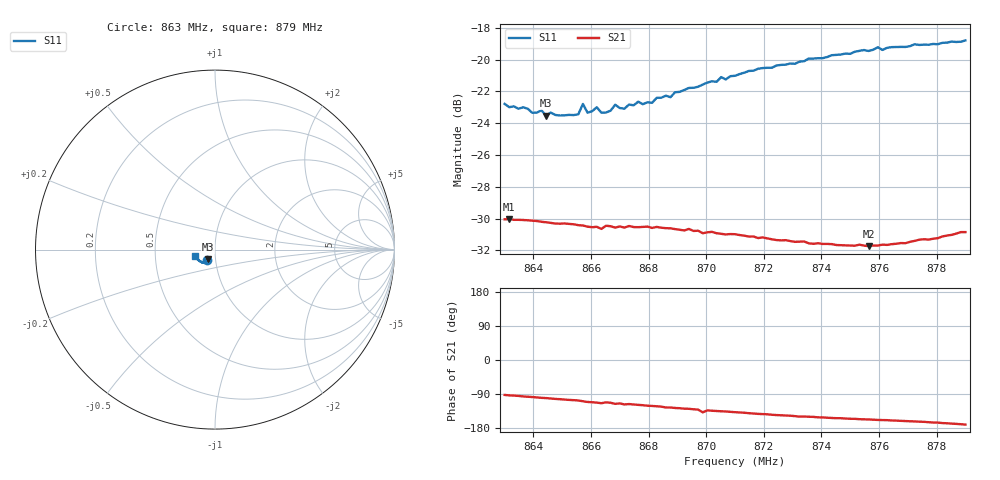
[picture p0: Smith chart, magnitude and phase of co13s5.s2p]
# HZ S RI R 50
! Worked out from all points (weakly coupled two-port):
!   101 points, 863 MHz to 879 MHz, reference 50 ohm
!   highest |S21| = -30.03 dB at 863.16 MHz (marker M1); lowest = -31.7 dB at 875.64 MHz (marker M2)
!   lowest |S11| = -23.5 dB at 864.44 MHz (marker M3), VSWR 1.14, Z = 45.9 - j4.93 ohm
!   |S11| at or under -10 dB: start of sweep to end of sweep
!   S12 and S22 are empty: the file has one direction only
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8.63e8  -0.0468 -0.0554  -0.00122 -0.0314  0 0  0 0
8.6316e8  -0.0457 -0.0541  -0.00185 -0.0315  0 0  0 0
8.6364e8  -0.0444 -0.0551  -0.00333 -0.0311  0 0  0 0
8.6396e8  -0.041 -0.0542  -0.0042 -0.0309  0 0  0 0
8.6428e8  -0.0411 -0.0558  -0.00531 -0.0304  0 0  0 0
8.6444e8  -0.0397 -0.0534  -0.0056 -0.0303  0 0  0 0
8.646e8  -0.0404 -0.0549  -0.00615 -0.03  0 0  0 0
8.6556e8  -0.0381 -0.0555  -0.00871 -0.0289  0 0  0 0
8.6572e8  -0.0421 -0.059  -0.00975 -0.0285  0 0  0 0
8.6588e8  -0.0371 -0.057  -0.0106 -0.0279  0 0  0 0
8.662e8  -0.0392 -0.0589  -0.0114 -0.0275  0 0  0 0
8.6652e8  -0.0355 -0.0582  -0.0111 -0.0279  0 0  0 0
8.6684e8  -0.0384 -0.061  -0.0128 -0.0267  0 0  0 0
8.6716e8  -0.0347 -0.0609  -0.0136 -0.0263  0 0  0 0
8.6764e8  -0.0375 -0.0634  -0.0141 -0.0261  0 0  0 0
8.6812e8  -0.0367 -0.0632  -0.0153 -0.0253  0 0  0 0
8.6844e8  -0.0374 -0.066  -0.0161 -0.0248  0 0  0 0
8.71e8  -0.051 -0.0728  -0.0209 -0.019  0 0  0 0
8.7372e8  -0.0704 -0.072  -0.0228 -0.0131  0 0  0 0
8.7564e8  -0.0861 -0.0625  -0.0238 -0.0102  0 0  0 0
8.7644e8  -0.0922 -0.0589  -0.0246 -0.00916  0 0  0 0
8.79e8  -0.1088 -0.0365  -0.0283 -0.00475  0 0  0 0
